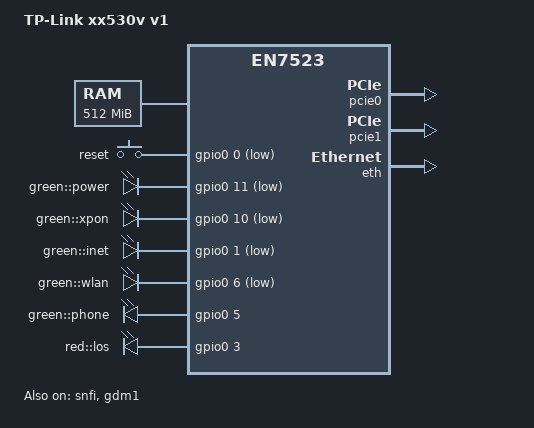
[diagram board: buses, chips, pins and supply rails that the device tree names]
// SPDX-License-Identifier: (GPL-2.0-only OR BSD-2-Clause)
/dts-v1/;

/* Bootloader installs ATF here */
/memreserve/ 0x80000000 0x200000;

#include <dt-bindings/input/linux-event-codes.h>
#include <dt-bindings/gpio/gpio.h>
#include "en7523.dtsi"

/ {
	model = "TP-Link xx530v v1";
	compatible = "airoha,en7523-xx530v-v1", "airoha,en7523";

	aliases {
		serial0 = &uart1;
	};

	chosen {
		bootargs = "console=ttyS0,115200 earlycon";
		stdout-path = "serial0:115200n8";
		linux,usable-memory-range = <0x80200000 0x1fe00000>;
	};

	memory@80000000 {
		device_type = "memory";
		reg = <0x80000000 0x20000000>;
	};

	keys {
		compatible = "gpio-keys-polled";
		poll-interval = <100>;

		reset {
			label = "reset";
			linux,code = <KEY_RESTART>;
			gpios = <&gpio0 0 GPIO_ACTIVE_LOW>;
			default-state = "off";
			debounce-interval = <60>;
		};
	};

	leds {
		compatible = "gpio-leds";

		// Power
		led@0 {
			label = "green::power";
			gpios = <&gpio0 11 GPIO_ACTIVE_LOW>;
			default-state = "off";
		};

		// xPON
		led@1 {
			label = "green::xpon";
			gpios = <&gpio0 10 GPIO_ACTIVE_LOW>;
			default-state = "off";
		};

		// internet
		led@3 {
			label = "green::inet";
			gpios = <&gpio0 1 GPIO_ACTIVE_LOW>;
			default-state = "off";
		};

		// Wireless
		led@4 {
			label = "green::wlan";
			gpios = <&gpio0 6 GPIO_ACTIVE_LOW>;
			default-state = "off";
		};

		// Phone
		led@5 {
			label = "green::phone";
			gpios = <&gpio0 5 GPIO_ACTIVE_HIGH>;
			default-state = "off";
		};

		// LOS
		led@2 {
			label = "red::los";
			gpios = <&gpio0 3 GPIO_ACTIVE_HIGH>;
			default-state = "off";
		};
	};
};

&gpio0 {
	status = "okay";
};

&gpio1 {
	status = "okay";
};

&pcie0 {
	status = "okay";
};

&pcie1 {
	status = "okay";
};

&snfi {
	status = "okay";
};

&spi_nand {
	partitions {
		compatible = "fixed-partitions";
		#address-cells = <1>;
		#size-cells = <1>;

		partition@0 {
			label = "uboot-atf";
			reg = <0x00000000 0x00080000>;
			read-only;
		};

		partition@1 {
			label = "romfile";
			reg = <0x80000 0xa0000>;
			read-only;
		};

		partition@2 {
			label = "misc";
			reg = <0x0a0000 0x200000>;
			read-only;
		};

		// Fist 512 have header of kernel
		// flash write 0x02a0000 0x$filesize $loadaddr
		partition@3 {
			label = "chainloader";
			reg = <0x02a0000 0x0100000>;
			read-only;
		};

		partition@4 {
			label = "firmware";
			reg = <0x03a0000 0x7260000>;
		};

		/* reserved for bad block table */
		partition@5 {
			label = "reserved_bmt";
			reg = <0x7600000 0x0b00000>;
			read-only;
		};
	};
};

&eth {
	status = "okay";
};

&gdm1 {
	status = "okay";
};

